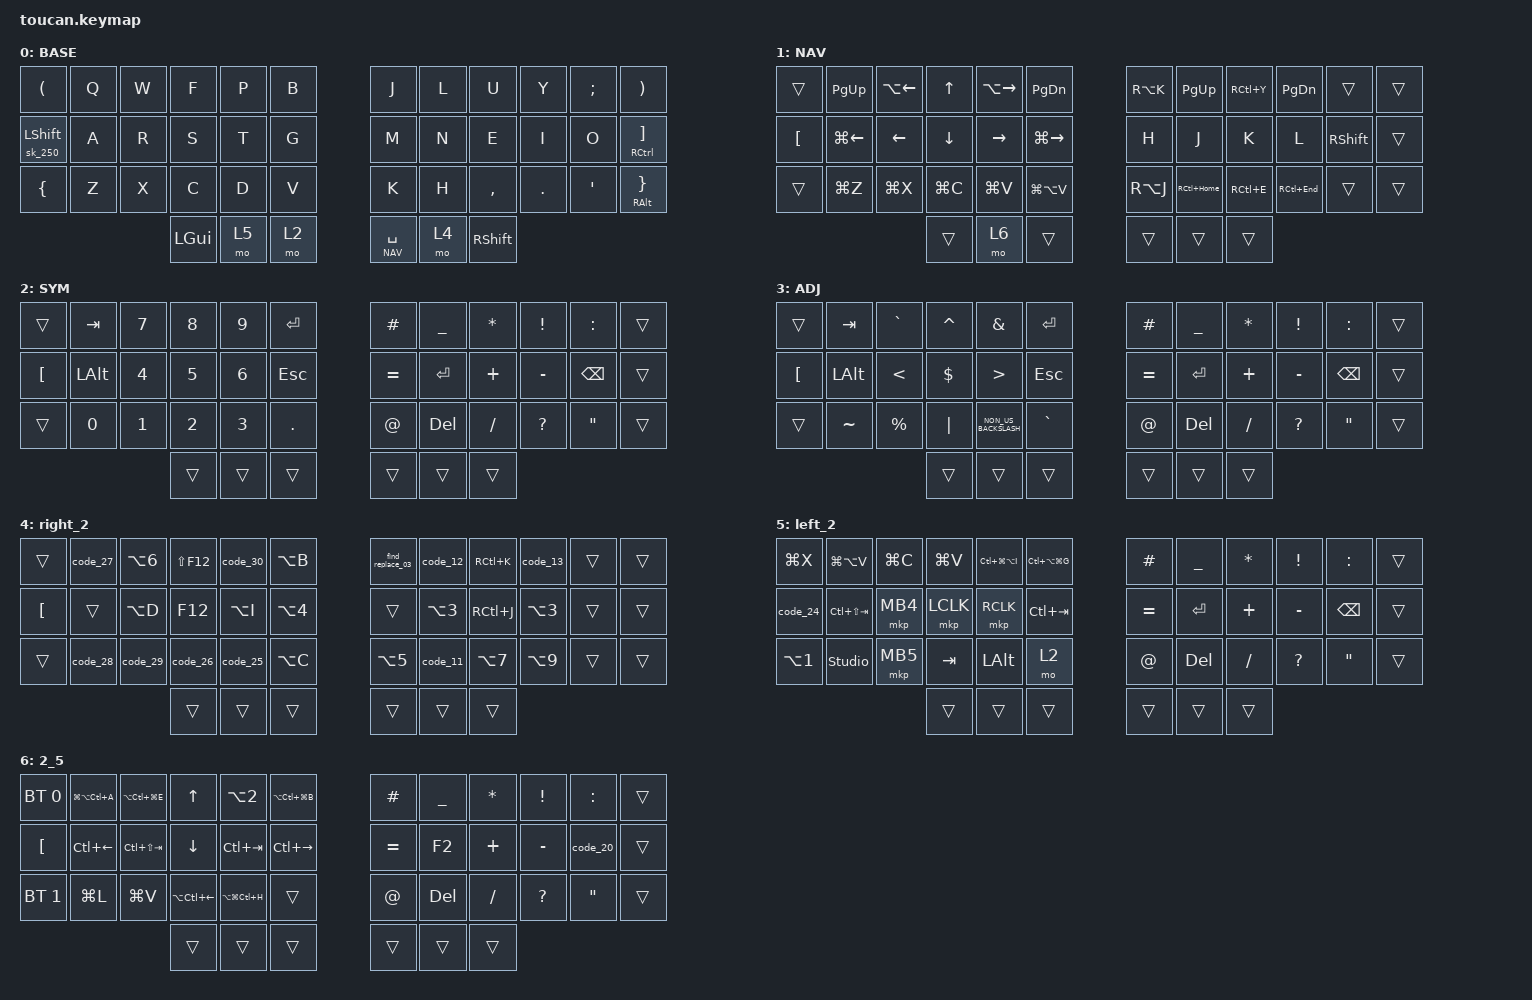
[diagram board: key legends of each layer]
#include <behaviors.dtsi>
#include <dt-bindings/zmk/bt.h>
#include <dt-bindings/zmk/keys.h>
#include <dt-bindings/zmk/pointing.h>

#define BASE 0
#define NAV  1
#define SYM  2
#define ADJ  3

/ {
    conditional_layers {
        compatible = "zmk,conditional-layers";

        tri_layer {
            if-layers = <1 2>;
            then-layer = <3>;
        };

        sys_5 {
            if-layers = <2 5>;
            then-layer = <6>;
        };
    };

    behaviors {
        sk_250: sk_250 {
            compatible = "zmk,behavior-sticky-key";
            #binding-cells = <1>;
            bindings = <&kp>;
            release-after-ms = <250>;
            quick-release;
        };

        spc_nav: spc_nav {
            compatible = "zmk,behavior-hold-tap";
            label = "SPC_NAV";
            #binding-cells = <2>;
            flavor = "tap-preferred";
            tapping-term-ms = <175>;
            quick-tap-ms = <120>;
            require-prior-idle-ms = <125>;
            retro-tap;
            bindings = <&mo &kp>;
        };
    };

    macros {
        find_replace_03: find_replace_03 {
            compatible = "zmk,behavior-macro";
            #binding-cells = <0>;
            wait-ms = <30>;
            tap-ms = <30>;
            bindings =
                <&kp Y &kp I &kp Z &kp G &kp V &kp COLON &kp S &kp SLASH>,
                <&macro_wait_time 100>,
                <&macro_press>,
                <&kp LCTRL>,
                <&macro_tap>,
                <&kp R>,
                <&macro_release>,
                <&kp LCTRL>,
                <&macro_wait_time 100>,
                <&kp NON_US_BACKSLASH &kp DOUBLE_QUOTES &kp SLASH>;
        };

        code_05: code_05 {
            compatible = "zmk,behavior-macro";
            #binding-cells = <0>;
            wait-ms = <30>;
            tap-ms = <30>;
            bindings =
                <&kp DOUBLE_QUOTES &kp PLUS>,
                <&macro_wait_time 20>,
                <&kp Y &kp I &kp W>,
                <&macro_wait_time 50>,
                <&kp G &kp V &kp COLON &kp SLASH>,
                <&macro_wait_time 20>,
                <&macro_press>,
                <&kp LCTRL>,
                <&macro_tap>,
                <&kp V>,
                <&macro_release>,
                <&kp LCTRL>,
                <&macro_wait_time 20>,
                <&kp SLASH>;
        };

        code_11: code_11 {
            compatible = "zmk,behavior-macro";
            #binding-cells = <0>;
            wait-ms = <30>;
            tap-ms = <30>;
            bindings =
                <&macro_wait_time 20>,
                <&macro_press>,
                <&kp LCTRL>,
                <&macro_tap>,
                <&kp X>,
                <&macro_release>,
                <&kp LCTRL>,
                <&macro_press>,
                <&kp LCTRL>,
                <&macro_tap>,
                <&kp B>,
                <&macro_release>,
                <&kp LCTRL>;
        };

        code_12: code_12 {
            compatible = "zmk,behavior-macro";
            #binding-cells = <0>;
            wait-ms = <30>;
            tap-ms = <30>;
            bindings =
                <&macro_wait_time 20>,
                <&macro_press>,
                <&kp LCTRL>,
                <&macro_tap>,
                <&kp X>,
                <&macro_release>,
                <&kp LCTRL>,
                <&macro_tap>,
                <&kp N0>;
        };

        code_13: code_13 {
            compatible = "zmk,behavior-macro";
            #binding-cells = <0>;
            wait-ms = <30>;
            tap-ms = <30>;
            bindings =
                <&macro_wait_time 20>,
                <&macro_press>,
                <&kp LCTRL>,
                <&macro_tap>,
                <&kp X>,
                <&macro_release>,
                <&kp LCTRL>,
                <&macro_tap>,
                <&kp NUMBER_1>;
        };

        code_20: code_20 {
            compatible = "zmk,behavior-macro";
            #binding-cells = <0>;
            wait-ms = <30>;
            tap-ms = <30>;
            bindings =
                <&macro_press>,
                <&kp LALT &kp LSHFT>,
                <&macro_tap>,
                <&kp LEFT_ARROW>,
                <&macro_release>,
                <&kp LSHFT &kp LALT>,
                <&macro_wait_time 20>,
                <&kp DELETE>;
        };

        code_21: code_21 {
            compatible = "zmk,behavior-macro";
            #binding-cells = <0>;
            wait-ms = <30>;
            tap-ms = <30>;
            bindings =
                <&kp I>,
                <&macro_wait_time 20>,
                <&macro_press>,
                <&kp LGUI>,
                <&macro_tap>,
                <&kp V>,
                <&macro_release>,
                <&kp LGUI>;
        };

        code_22: code_22 {
            compatible = "zmk,behavior-macro";
            #binding-cells = <0>;
            wait-ms = <30>;
            tap-ms = <30>;
            bindings =
                <&macro_press>,
                <&kp LGUI>,
                <&macro_tap>,
                <&kp K>,
                <&macro_release>,
                <&kp LGUI>,
                <&macro_wait_time 20>,
                <&macro_press>,
                <&kp LGUI>,
                <&macro_tap>,
                <&kp V>,
                <&macro_release>,
                <&kp LGUI>,
                <&macro_wait_time 20>,
                <&kp ENTER>;
        };

        code_23: code_23 {
            compatible = "zmk,behavior-macro";
            #binding-cells = <0>;
            wait-ms = <30>;
            tap-ms = <30>;
            bindings =
                <&kp LEFT_BRACKET &kp LEFT_BRACKET>,
                <&macro_wait_time 20>,
                <&macro_press>,
                <&kp LGUI>,
                <&macro_tap>,
                <&kp V>,
                <&macro_release>,
                <&kp LGUI>,
                <&macro_tap>,
                <&kp RIGHT_BRACKET &kp LEFT_BRACKET &kp RIGHT_BRACKET &kp RIGHT_BRACKET &kp LEFT_ARROW &kp LEFT_ARROW>;
        };

        code_24: code_24 {
            compatible = "zmk,behavior-macro";
            #binding-cells = <0>;
            wait-ms = <30>;
            tap-ms = <30>;
            bindings =
                <&macro_press>,
                <&kp LGUI>,
                <&macro_tap>,
                <&kp C>,
                <&macro_release>,
                <&kp LGUI>,
                <&macro_wait_time 50>,
                <&macro_press>,
                <&kp LGUI>,
                <&macro_tap>,
                <&kp F>,
                <&macro_release>,
                <&kp LGUI>,
                <&macro_wait_time 50>,
                <&macro_press>,
                <&kp LGUI>,
                <&macro_tap>,
                <&kp V>,
                <&macro_release>,
                <&kp LGUI>,
                <&macro_wait_time 50>,
                <&macro_tap>,
                <&kp ENTER>;
        };

        code_25: code_25 {
            compatible = "zmk,behavior-macro";
            #binding-cells = <0>;
            wait-ms = <30>;
            tap-ms = <30>;
            bindings =
                <&macro_press>,
                <&kp LCTRL>,
                <&macro_tap>,
                <&kp S>,
                <&macro_release>,
                <&kp LCTRL>,
                <&macro_wait_time 50>,
                <&macro_press>,
                <&kp LCTRL>,
                <&macro_tap>,
                <&kp R>,
                <&macro_release>,
                <&kp LCTRL>,
                <&macro_wait_time 50>,
                <&macro_tap>,
                <&kp ENTER>;
        };

        code_26: code_26 {
            compatible = "zmk,behavior-macro";
            #binding-cells = <0>;
            wait-ms = <30>;
            tap-ms = <30>;
            bindings =
                <&macro_press>,
                <&kp LCTRL>,
                <&macro_tap>,
                <&kp C>,
                <&macro_release>,
                <&kp LCTRL>,
                <&macro_wait_time 50>,
                <&macro_press>,
                <&kp LCTRL>,
                <&macro_tap>,
                <&kp K>,
                <&macro_release>,
                <&kp LCTRL>,
                <&macro_wait_time 50>;
        };

        code_27: code_27 {
            compatible = "zmk,behavior-macro";
            #binding-cells = <0>;
            wait-ms = <30>;
            tap-ms = <30>;
            bindings =
                <&macro_press>,
                <&kp LCTRL>,
                <&macro_tap>,
                <&kp X>,
                <&macro_release>,
                <&kp LCTRL>,
                <&macro_wait_time 50>,
                <&macro_press>,
                <&kp LCTRL>,
                <&macro_tap>,
                <&kp Q>,
                <&macro_release>,
                <&kp LCTRL>,
                <&macro_wait_time 50>;
        };

        code_28: code_28 {
            compatible = "zmk,behavior-macro";
            #binding-cells = <0>;
            wait-ms = <30>;
            tap-ms = <30>;
            bindings =
                <&macro_press>,
                <&kp LCTRL>,
                <&macro_tap>,
                <&kp C>,
                <&macro_release>,
                <&kp LCTRL>,
                <&macro_wait_time 50>,
                <&macro_press>,
                <&kp LCTRL>,
                <&macro_tap>,
                <&kp O>,
                <&macro_release>,
                <&kp LCTRL>,
                <&macro_wait_time 50>,
                <&macro_press>,
                <&kp LCTRL>,
                <&macro_tap>,
                <&kp X>,
                <&macro_release>,
                <&kp LCTRL>,
                <&macro_wait_time 50>,
                <&macro_tap>,
                <&kp NUMBER_1>;
        };

        code_29: code_29 {
            compatible = "zmk,behavior-macro";
            #binding-cells = <0>;
            wait-ms = <30>;
            tap-ms = <30>;
            bindings =
                <&kp Y &kp I &kp Z>,
                <&macro_press>,
                <&kp LCTRL>,
                <&macro_tap>,
                <&kp S>,
                <&macro_release>,
                <&kp LCTRL>,
                <&macro_wait_time 50>,
                <&macro_press>,
                <&kp LCTRL>,
                <&macro_tap>,
                <&kp Y>,
                <&macro_release>,
                <&kp LCTRL>,
                <&macro_wait_time 50>;
        };

        code_30: code_30 {
            compatible = "zmk,behavior-macro";
            #binding-cells = <0>;
            wait-ms = <30>;
            tap-ms = <30>;
            bindings =
                <&kp Y &kp I &kp Z &kp PLUS &kp Q &kp Q>,
                <&macro_press>,
                <&kp LCTRL>,
                <&macro_tap>,
                <&kp R>,
                <&macro_release>,
                <&kp LCTRL>,
                <&macro_tap>,
                <&kp NON_US_BACKSLASH &kp DOUBLE_QUOTES &kp ENTER>,
                <&macro_wait_time 50>,
                <&macro_press>,
                <&kp LCTRL>,
                <&macro_tap>,
                <&kp C>,
                <&macro_release>,
                <&kp LCTRL>,
                <&macro_wait_time 50>,
                <&macro_press>,
                <&kp LCTRL>,
                <&macro_tap>,
                <&kp O>,
                <&macro_release>,
                <&kp LCTRL>,
                <&macro_wait_time 50>,
                <&macro_press>,
                <&kp LCTRL>,
                <&macro_tap>,
                <&kp X>,
                <&macro_release>,
                <&kp LCTRL>,
                <&macro_wait_time 50>,
                <&macro_tap>,
                <&kp NUMBER_1>;
        };
    };

    combos {
        compatible = "zmk,combos";

        new_tab {
            bindings = <&kp LG(T)>;
            key-positions = <25 16>;
            layers = <0>;
        };

        close_tab {
            bindings = <&kp LG(W)>;
            key-positions = <25 26>;
            layers = <0>;
        };
    };

    keymap {
        compatible = "zmk,keymap";

        base {
            display-name = "BASE";
            bindings = <
&kp LEFT_PARENTHESIS  &kp Q  &kp W  &kp F         &kp P  &kp B  &kp J               &kp L  &kp U            &kp Y    &kp SEMICOLON  &kp RIGHT_PARENTHESIS
&sk_250 LEFT_SHIFT    &kp A  &kp R  &kp S         &kp T  &kp G  &kp M               &kp N  &kp E            &kp I    &kp O          &mt RIGHT_CONTROL RIGHT_BRACKET
&kp LEFT_BRACE        &kp Z  &kp X  &kp C         &kp D  &kp V  &kp K               &kp H  &kp COMMA        &kp DOT  &kp SQT        &mt RIGHT_ALT RIGHT_BRACE
                                    &kp LEFT_GUI  &mo 5  &mo 2  &spc_nav NAV SPACE  &mo 4  &kp RIGHT_SHIFT
            >;
        };

        nav {
            display-name = "NAV";
            bindings = <
&trans            &kp PAGE_UP         &kp LA(LEFT_ARROW)  &kp UP_ARROW    &kp LA(RIGHT_ARROW)  &kp PAGE_DOWN        &kp RA(K)  &kp PAGE_UP   &kp RC(Y)  &kp PAGE_DOWN  &trans           &trans
&kp LEFT_BRACKET  &kp LG(LEFT_ARROW)  &kp LEFT_ARROW      &kp DOWN_ARROW  &kp RIGHT_ARROW      &kp LG(RIGHT_ARROW)  &kp H      &kp J         &kp K      &kp L          &kp RIGHT_SHIFT  &trans
&trans            &kp LG(Z)           &kp LG(X)           &kp LG(C)       &kp LG(V)            &kp LG(LA(V))        &kp RA(J)  &kp RC(HOME)  &kp RC(E)  &kp RC(END)    &trans           &trans
                                                          &trans          &mo 6                &trans               &trans     &trans        &trans
            >;
        };

        sym {
            display-name = "SYM";
            bindings = <
&trans            &kp TAB       &kp N7        &kp N8        &kp N9        &kp ENTER   &kp HASH     &kp UNDERSCORE  &kp ASTERISK  &kp EXCLAMATION  &kp COLON          &trans
&kp LEFT_BRACKET  &kp LEFT_ALT  &kp NUMBER_4  &kp N5        &kp NUMBER_6  &kp ESCAPE  &kp EQUAL    &kp ENTER       &kp PLUS      &kp MINUS        &kp BACKSPACE      &trans
&trans            &kp N0        &kp NUMBER_1  &kp NUMBER_2  &kp NUMBER_3  &kp PERIOD  &kp AT_SIGN  &kp DELETE      &kp SLASH     &kp QUESTION     &kp DOUBLE_QUOTES  &trans
                                              &trans        &trans        &trans      &trans       &trans          &trans
            >;
        };

        adj {
            display-name = "ADJ";
            bindings = <
&trans            &kp TAB       &kp GRAVE      &kp CARET   &kp AMPERSAND         &kp ENTER   &kp HASH     &kp UNDERSCORE  &kp ASTERISK  &kp EXCLAMATION  &kp COLON          &trans
&kp LEFT_BRACKET  &kp LEFT_ALT  &kp LESS_THAN  &kp DOLLAR  &kp GREATER_THAN      &kp ESCAPE  &kp EQUAL    &kp ENTER       &kp PLUS      &kp MINUS        &kp BACKSPACE      &trans
&trans            &kp TILDE     &kp PERCENT    &kp PIPE    &kp NON_US_BACKSLASH  &kp GRAVE   &kp AT_SIGN  &kp DELETE      &kp SLASH     &kp QUESTION     &kp DOUBLE_QUOTES  &trans
                                               &trans      &trans                &trans      &trans       &trans          &trans
            >;
        };

        layer_4 {
            display-name = "right_2";
            bindings = <
&trans            &code_27  &kp LA(NUMBER_6)  &kp LS(F12)  &code_30   &kp LA(B)         &find_replace_03  &code_12          &kp RC(K)   &code_13          &trans  &trans
&kp LEFT_BRACKET  &trans    &kp LA(D)         &kp F12      &kp LA(I)  &kp LA(NUMBER_4)  &trans            &kp LA(NUMBER_3)  &kp RC(J)   &kp LA(NUMBER_3)  &trans  &trans
&trans            &code_28  &code_29          &code_26     &code_25   &kp LA(C)         &kp LA(N5)        &code_11          &kp LA(N7)  &kp LA(N9)        &trans  &trans
                                              &trans       &trans     &trans            &trans            &trans            &trans
            >;
        };

        layer_5 {
            display-name = "left_2";
            bindings = <
&kp LG(X)         &kp LG(LA(V))    &kp LG(C)  &kp LG(V)  &kp LC(LG(LA(I)))  &kp LC(LA(LG(G)))  &kp HASH     &kp UNDERSCORE  &kp ASTERISK  &kp EXCLAMATION  &kp COLON          &trans
&code_24          &kp LC(LS(TAB))  &mkp MB4   &mkp LCLK  &mkp RCLK          &kp LC(TAB)        &kp EQUAL    &kp ENTER       &kp PLUS      &kp MINUS        &kp BACKSPACE      &trans
&kp LA(NUMBER_1)  &studio_unlock   &mkp MB5   &kp TAB    &kp LEFT_ALT       &mo 2              &kp AT_SIGN  &kp DELETE      &kp SLASH     &kp QUESTION     &kp DOUBLE_QUOTES  &trans
                                              &trans     &trans             &trans             &trans       &trans          &trans
            >;
        };

        layer_6 {
            display-name = "2_5";
            bindings = <
&bt BT_SEL 0      &kp LG(LA(LC(A)))  &kp LA(LC(LG(E)))  &kp UP_ARROW      &kp LA(NUMBER_2)   &kp LA(LC(LG(B)))  &kp HASH     &kp UNDERSCORE  &kp ASTERISK  &kp EXCLAMATION  &kp COLON          &trans
&kp LEFT_BRACKET  &kp LC(LEFT)       &kp LC(LS(TAB))    &kp DOWN          &kp LC(TAB)        &kp LC(RIGHT)      &kp EQUAL    &kp F2          &kp PLUS      &kp MINUS        &code_20           &trans
&bt BT_SEL 1      &kp LG(L)          &kp LG(V)          &kp LA(LC(LEFT))  &kp LA(LG(LC(H)))  &trans             &kp AT_SIGN  &kp DELETE      &kp SLASH     &kp QUESTION     &kp DOUBLE_QUOTES  &trans
                                                        &trans            &trans             &trans             &trans       &trans          &trans
            >;
        };
    };
};
